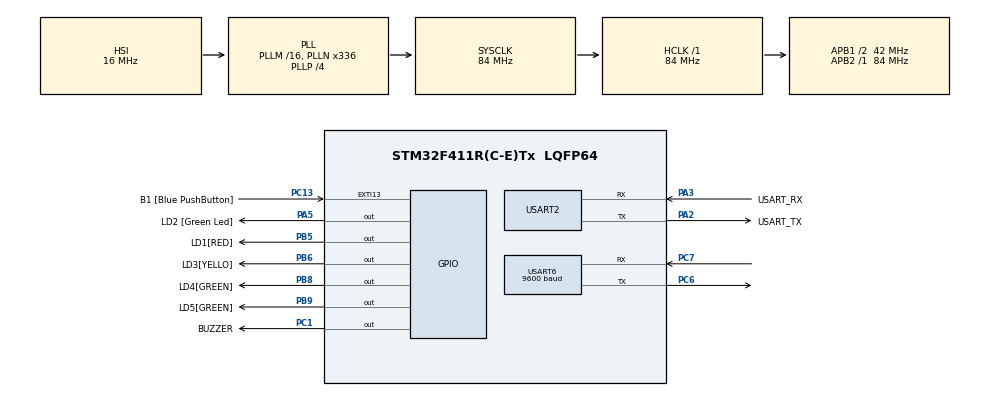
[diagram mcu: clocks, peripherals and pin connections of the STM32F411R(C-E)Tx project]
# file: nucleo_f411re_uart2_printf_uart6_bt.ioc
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Mcu.Family=STM32F4
Mcu.Name=STM32F411R(C-E)Tx
Mcu.Package=LQFP64
NVIC.PriorityGroup=NVIC_PRIORITYGROUP_0
NVIC.USART2_IRQn=true\:0\:0\:false\:false\:true\:true\:true\:true
NVIC.USART6_IRQn=true\:0\:0\:false\:false\:true\:true\:true\:true
PA13.GPIO_Label=TMS
PA13.Mode=Serial_Wire
PA13.Signal=SYS_JTMS-SWDIO
PA14.GPIO_Label=TCK
PA14.Mode=Serial_Wire
PA14.Signal=SYS_JTCK-SWCLK
PA2.GPIO_Label=USART_TX
PA2.Mode=Asynchronous
PA2.Signal=USART2_TX
PA3.GPIO_Label=USART_RX
PA3.Mode=Asynchronous
PA3.Signal=USART2_RX
PA5.GPIO_Label=LD2 [Green Led]
PA5.Signal=GPIO_Output
PB3.GPIO_Label=SWO
PB3.Signal=SYS_JTDO-SWO
PB5.GPIO_Label=LD1[RED]
PB5.Signal=GPIO_Output
PB6.GPIO_Label=LD3[YELLO]
PB6.Signal=GPIO_Output
PB8.GPIO_Label=LD4[GREEN]
PB8.Signal=GPIO_Output
PB9.GPIO_Label=LD5[GREEN]
PB9.Signal=GPIO_Output
PC1.GPIO_Label=BUZZER
PC1.Signal=GPIO_Output
PC13-ANTI_TAMP.GPIO_Label=B1 [Blue PushButton]
PC13-ANTI_TAMP.GPIO_ModeDefaultEXTI=GPIO_MODE_IT_FALLING
PC13-ANTI_TAMP.Signal=GPXTI13
PC14-OSC32_IN.Mode=LSE-External-Oscillator
PC14-OSC32_IN.Signal=RCC_OSC32_IN
PC15-OSC32_OUT.Mode=LSE-External-Oscillator
PC15-OSC32_OUT.Signal=RCC_OSC32_OUT
PC6.Mode=Asynchronous
PC6.Signal=USART6_TX
PC7.Mode=Asynchronous
PC7.Signal=USART6_RX
PH0\ -\ OSC_IN.Mode=HSE-External-Clock-Source
PH0\ -\ OSC_IN.Signal=RCC_OSC_IN
PH1\ -\ OSC_OUT.Mode=HSE-External-Clock-Source
PH1\ -\ OSC_OUT.Signal=RCC_OSC_OUT
ProjectManager.HeapSize=0x200
ProjectManager.StackSize=0x400
ProjectManager.TargetToolchain=STM32CubeIDE
RCC.48MHZClocksFreq_Value=84000000
RCC.AHBFreq_Value=84000000
RCC.APB1CLKDivider=RCC_HCLK_DIV2
RCC.APB1Freq_Value=42000000
RCC.APB1TimFreq_Value=84000000
RCC.APB2Freq_Value=84000000
RCC.APB2TimFreq_Value=84000000
RCC.CortexFreq_Value=84000000
RCC.FLatency-AdvancedSettings=FLASH_LATENCY_2
RCC.HCLKFreq_Value=84000000
RCC.HSE_VALUE=8000000
RCC.HSI_VALUE=16000000
RCC.PLLN=336
RCC.PLLP=RCC_PLLP_DIV4
RCC.SYSCLKFreq_VALUE=84000000
RCC.SYSCLKSource=RCC_SYSCLKSOURCE_PLLCLK
RCC.VCOOutputFreq_Value=336000000
USART2.VirtualMode=VM_ASYNC
USART6.BaudRate=9600
USART6.VirtualMode=VM_ASYNC
board=NUCLEO-F411RE

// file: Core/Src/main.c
/* USER CODE BEGIN Header */
/**
  ******************************************************************************
  * @file           : main.c
  * @brief          : Main program body
  ******************************************************************************
  * @attention
  *
  * Copyright (c) 2024 STMicroelectronics.
  * All rights reserved.
  *
  * This software is licensed under terms that can be found in the LICENSE file
  * in the root directory of this software component.
  * If no LICENSE file comes with this software, it is provided AS-IS.
  *
  ******************************************************************************
  */
/* USER CODE END Header */
#include "main.h"

/* USER CODE BEGIN Includes */
#include <stdio.h>
#include <string.h>
/* USER CODE END Includes */

/* USER CODE BEGIN PD */
#ifdef __GNUC__
/* With GCC, small printf (option LD Linker->Libraries->Small printf
   set to 'Yes') calls __io_putchar() */
#define PUTCHAR_PROTOTYPE int __io_putchar(int ch)
#else
#define PUTCHAR_PROTOTYPE int fputc(int ch, FILE *f)
#endif /* __GNUC__ */
#define ARR_CNT 4
#define CMD_SIZE 50
#define USERNAME "YJY_ARD1"
/* USER CODE END PD */

UART_HandleTypeDef huart2;
UART_HandleTypeDef huart6;

/* USER CODE BEGIN PV */
uint8_t rx2char;
volatile unsigned char rx2Flag = 0;
volatile char rx2Data[50];
volatile unsigned char btFlag = 0;
uint8_t btchar;
char btData[50];
void bluetooth_Event();
/* USER CODE END PV */

void SystemClock_Config(void);
static void MX_GPIO_Init(void);
static void MX_USART2_UART_Init(void);
static void MX_USART6_UART_Init(void);

int main(void)
{

  /* MCU Configuration--------------------------------------------------------*/

  /* Reset of all peripherals, Initializes the Flash interface and the Systick. */
  HAL_Init();

  /* Configure the system clock */
  SystemClock_Config();

  /* Initialize all configured peripherals */
  MX_GPIO_Init();
  MX_USART2_UART_Init();
  MX_USART6_UART_Init();
  /* USER CODE BEGIN 2 */
  HAL_UART_Receive_IT(&huart2, &rx2char,1);
  HAL_UART_Receive_IT(&huart6, &btchar,1);
  printf("start main2()\r\n");
//  char buf[10] = "Hello\r";
  /* USER CODE END 2 */

  /* Infinite loop */
  /* USER CODE BEGIN WHILE */
  while (1)
  {
	  if(rx2Flag)
	  	  {
	  			printf("recv2 : %s\r\n",rx2Data);
	  			rx2Flag =0;
	  	//	    HAL_UART_Transmit(&huart6, (uint8_t *)buf, strlen(buf), 0xFFFF);
	  	  }
	  if(btFlag)
	  	  {
	  //		printf("bt : %s\r\n",btData);
	  			btFlag =0;
	  			bluetooth_Event();
	  	  }
  }
    /* USER CODE END WHILE */

}

void SystemClock_Config(void)
{
  RCC_OscInitTypeDef RCC_OscInitStruct = {0};
  RCC_ClkInitTypeDef RCC_ClkInitStruct = {0};

  /** Configure the main internal regulator output voltage
  */
  __HAL_RCC_PWR_CLK_ENABLE();
  __HAL_PWR_VOLTAGESCALING_CONFIG(PWR_REGULATOR_VOLTAGE_SCALE1);

  /** Initializes the RCC Oscillators according to the specified parameters
  * in the RCC_OscInitTypeDef structure.
  */
  RCC_OscInitStruct.OscillatorType = RCC_OSCILLATORTYPE_HSI;
  RCC_OscInitStruct.HSIState = RCC_HSI_ON;
  RCC_OscInitStruct.HSICalibrationValue = RCC_HSICALIBRATION_DEFAULT;
  RCC_OscInitStruct.PLL.PLLState = RCC_PLL_ON;
  RCC_OscInitStruct.PLL.PLLSource = RCC_PLLSOURCE_HSI;
  RCC_OscInitStruct.PLL.PLLM = 16;
  RCC_OscInitStruct.PLL.PLLN = 336;
  RCC_OscInitStruct.PLL.PLLP = RCC_PLLP_DIV4;
  RCC_OscInitStruct.PLL.PLLQ = 4;
  if (HAL_RCC_OscConfig(&RCC_OscInitStruct) != HAL_OK)
  {
    Error_Handler();
  }

  /** Initializes the CPU, AHB and APB buses clocks
  */
  RCC_ClkInitStruct.ClockType = RCC_CLOCKTYPE_HCLK|RCC_CLOCKTYPE_SYSCLK
                              |RCC_CLOCKTYPE_PCLK1|RCC_CLOCKTYPE_PCLK2;
  RCC_ClkInitStruct.SYSCLKSource = RCC_SYSCLKSOURCE_PLLCLK;
  RCC_ClkInitStruct.AHBCLKDivider = RCC_SYSCLK_DIV1;
  RCC_ClkInitStruct.APB1CLKDivider = RCC_HCLK_DIV2;
  RCC_ClkInitStruct.APB2CLKDivider = RCC_HCLK_DIV1;

  if (HAL_RCC_ClockConfig(&RCC_ClkInitStruct, FLASH_LATENCY_2) != HAL_OK)
  {
    Error_Handler();
  }
}

static void MX_USART2_UART_Init(void)
{

  huart2.Instance = USART2;
  huart2.Init.BaudRate = 115200;
  huart2.Init.WordLength = UART_WORDLENGTH_8B;
  huart2.Init.StopBits = UART_STOPBITS_1;
  huart2.Init.Parity = UART_PARITY_NONE;
  huart2.Init.Mode = UART_MODE_TX_RX;
  huart2.Init.HwFlowCtl = UART_HWCONTROL_NONE;
  huart2.Init.OverSampling = UART_OVERSAMPLING_16;
  if (HAL_UART_Init(&huart2) != HAL_OK)
  {
    Error_Handler();
  }

}

static void MX_USART6_UART_Init(void)
{

  huart6.Instance = USART6;
  huart6.Init.BaudRate = 9600;
  huart6.Init.WordLength = UART_WORDLENGTH_8B;
  huart6.Init.StopBits = UART_STOPBITS_1;
  huart6.Init.Parity = UART_PARITY_NONE;
  huart6.Init.Mode = UART_MODE_TX_RX;
  huart6.Init.HwFlowCtl = UART_HWCONTROL_NONE;
  huart6.Init.OverSampling = UART_OVERSAMPLING_16;
  if (HAL_UART_Init(&huart6) != HAL_OK)
  {
    Error_Handler();
  }

}

static void MX_GPIO_Init(void)
{
  GPIO_InitTypeDef GPIO_InitStruct = {0};

  /* GPIO Ports Clock Enable */
  __HAL_RCC_GPIOC_CLK_ENABLE();
  __HAL_RCC_GPIOH_CLK_ENABLE();
  __HAL_RCC_GPIOA_CLK_ENABLE();
  __HAL_RCC_GPIOB_CLK_ENABLE();

  /*Configure GPIO pin Output Level */
  HAL_GPIO_WritePin(BUZZER_GPIO_Port, BUZZER_Pin, GPIO_PIN_RESET);

  /*Configure GPIO pin Output Level */
  HAL_GPIO_WritePin(LD2_GPIO_Port, LD2_Pin, GPIO_PIN_RESET);

  /*Configure GPIO pin Output Level */
  HAL_GPIO_WritePin(GPIOB, LD1_Pin|LD3_Pin|LD4_Pin|LD5_Pin, GPIO_PIN_RESET);

  /*Configure GPIO pin : B1_Pin */
  GPIO_InitStruct.Pin = B1_Pin;
  GPIO_InitStruct.Mode = GPIO_MODE_IT_FALLING;
  GPIO_InitStruct.Pull = GPIO_NOPULL;
  HAL_GPIO_Init(B1_GPIO_Port, &GPIO_InitStruct);

  /*Configure GPIO pin : BUZZER_Pin */
  GPIO_InitStruct.Pin = BUZZER_Pin;
  GPIO_InitStruct.Mode = GPIO_MODE_OUTPUT_PP;
  GPIO_InitStruct.Pull = GPIO_NOPULL;
  GPIO_InitStruct.Speed = GPIO_SPEED_FREQ_LOW;
  HAL_GPIO_Init(BUZZER_GPIO_Port, &GPIO_InitStruct);

  /*Configure GPIO pin : LD2_Pin */
  GPIO_InitStruct.Pin = LD2_Pin;
  GPIO_InitStruct.Mode = GPIO_MODE_OUTPUT_PP;
  GPIO_InitStruct.Pull = GPIO_NOPULL;
  GPIO_InitStruct.Speed = GPIO_SPEED_FREQ_LOW;
  HAL_GPIO_Init(LD2_GPIO_Port, &GPIO_InitStruct);

  /*Configure GPIO pins : LD1_Pin LD3_Pin LD4_Pin LD5_Pin */
  GPIO_InitStruct.Pin = LD1_Pin|LD3_Pin|LD4_Pin|LD5_Pin;
  GPIO_InitStruct.Mode = GPIO_MODE_OUTPUT_PP;
  GPIO_InitStruct.Pull = GPIO_NOPULL;
  GPIO_InitStruct.Speed = GPIO_SPEED_FREQ_LOW;
  HAL_GPIO_Init(GPIOB, &GPIO_InitStruct);

}

/* USER CODE BEGIN 4 */
void MX_GPIO_LED_ON(int pin)
{
	HAL_GPIO_WritePin(LD2_GPIO_Port, pin, GPIO_PIN_SET);
}
void MX_GPIO_LED_OFF(int pin)
{
	HAL_GPIO_WritePin(LD2_GPIO_Port, pin, GPIO_PIN_RESET);
}
void bluetooth_Event()
{

  int i=0;
  char * pToken;
  char * pArray[ARR_CNT]={0};
  char recvBuf[CMD_SIZE]={0};
  char sendBuf[CMD_SIZE]={0};
  strcpy(recvBuf,btData);

  printf("btData : %s\r\n",btData);

  pToken = strtok(recvBuf,"[@]");
  while(pToken != NULL)
  {
    pArray[i] =  pToken;
    if(++i >= ARR_CNT)
      break;
    pToken = strtok(NULL,"[@]");
  }
//  printf("pArray[0] : %s\r\n",pArray[0]);
//  printf("pArray[1] : %s\r\n",pArray[1]);
//  printf("pArray[2] : %s\r\n",pArray[2]);
//  printf("pArray[3] : %s\r\n",pArray[3]);
  if(!strcmp(pArray[1],"LED"))
  {
		if(!strcmp(pArray[2],"ON"))
		{
			MX_GPIO_LED_ON(LD2_Pin);
		}
		else if(!strcmp(pArray[2],"OFF"))
		{
			MX_GPIO_LED_OFF(LD2_Pin);
		}
  }
  else if(!strncmp(pArray[1]," New conn",sizeof(" New conn")))
  {
      return;
  }
  else if(!strncmp(pArray[1]," Already log",sizeof(" Already log")))
  {
      return;
  }
  else if(!strncmp(pArray[2],USERNAME,sizeof(USERNAME))) //Spacename Check
  {
	  if(!strncmp(pArray[1],"STATE",sizeof("STATE")))
	  {
		  HAL_GPIO_WritePin(GPIOB, GPIO_PIN_All, GPIO_PIN_RESET);
			if(!strncmp(pArray[3],"Comfortable",sizeof("Comfortable"))){
				HAL_GPIO_WritePin(GPIOB, LD5_Pin, GPIO_PIN_SET);
			}
			else if(!strncmp(pArray[3],"Moderate",sizeof("Moderate"))) {
				HAL_GPIO_WritePin(GPIOB, LD4_Pin, GPIO_PIN_SET);
			}
			else if(!strncmp(pArray[3],"Uncomfortable",sizeof("Uncomfortable"))){
				HAL_GPIO_WritePin(GPIOB, LD3_Pin, GPIO_PIN_SET);
			}
			else if(!strncmp(pArray[3],"VeryUncomfortable",sizeof("VeryUncomfortable"))){
				HAL_GPIO_WritePin(GPIOB, LD1_Pin, GPIO_PIN_SET);
				HAL_GPIO_WritePin(GPIOC, BUZZER_Pin, GPIO_PIN_SET);
			}
			else if(!strncmp(pArray[3],"Error",sizeof("Error"))){
				HAL_GPIO_WritePin(GPIOB, LD1_Pin, GPIO_PIN_SET);
				HAL_GPIO_WritePin(GPIOB, LD3_Pin, GPIO_PIN_SET);
				HAL_GPIO_WritePin(GPIOB, LD4_Pin, GPIO_PIN_SET);
				HAL_GPIO_WritePin(GPIOB, LD5_Pin, GPIO_PIN_SET);
				HAL_GPIO_WritePin(GPIOC, BUZZER_Pin, GPIO_PIN_SET);
			}
	  }
  }
  else
      return;

  sprintf(sendBuf,"[%s]%s@%s\n",pArray[0],pArray[1],pArray[2]);
  HAL_UART_Transmit(&huart6, (uint8_t *)sendBuf, strlen(sendBuf), 0xFFFF);

}
/**
  * @brief  Retargets the C library printf function to the USART.
  * @param  None
  * @retval None
  */
PUTCHAR_PROTOTYPE
{
  /* Place your implementation of fputc here */
  /* e.g. write a character to the USART6 and Loop until the end of transmission */
  HAL_UART_Transmit(&huart2, (uint8_t *)&ch, 1, 0xFFFF);

  return ch;
}
void HAL_UART_RxCpltCallback(UART_HandleTypeDef *huart)
{
    if(huart->Instance == USART2)
    {
    	static int i=0;
    	rx2Data[i] = rx2char;
    	if((rx2Data[i] == '\r')||(btData[i] == '\n'))
    	{
    		rx2Data[i] = '\0';
    		rx2Flag = 1;
    		i = 0;
    	}
    	else
    	{
    		i++;
    	}
    	HAL_UART_Receive_IT(&huart2, &rx2char,1);
    }
    if(huart->Instance == USART6)
    {
    	static int i=0;
    	btData[i] = btchar;
    	if((btData[i] == '\n') || btData[i] == '\r')
    	{
    		btData[i] = '\0';
    		btFlag = 1;
    		i = 0;
    	}
    	else
    	{
    		i++;
    	}
    	HAL_UART_Receive_IT(&huart6, &btchar,1);
    }
}
/* USER CODE END 4 */

void Error_Handler(void)
{
  __disable_irq();
  while (1)
  {
  }
}
